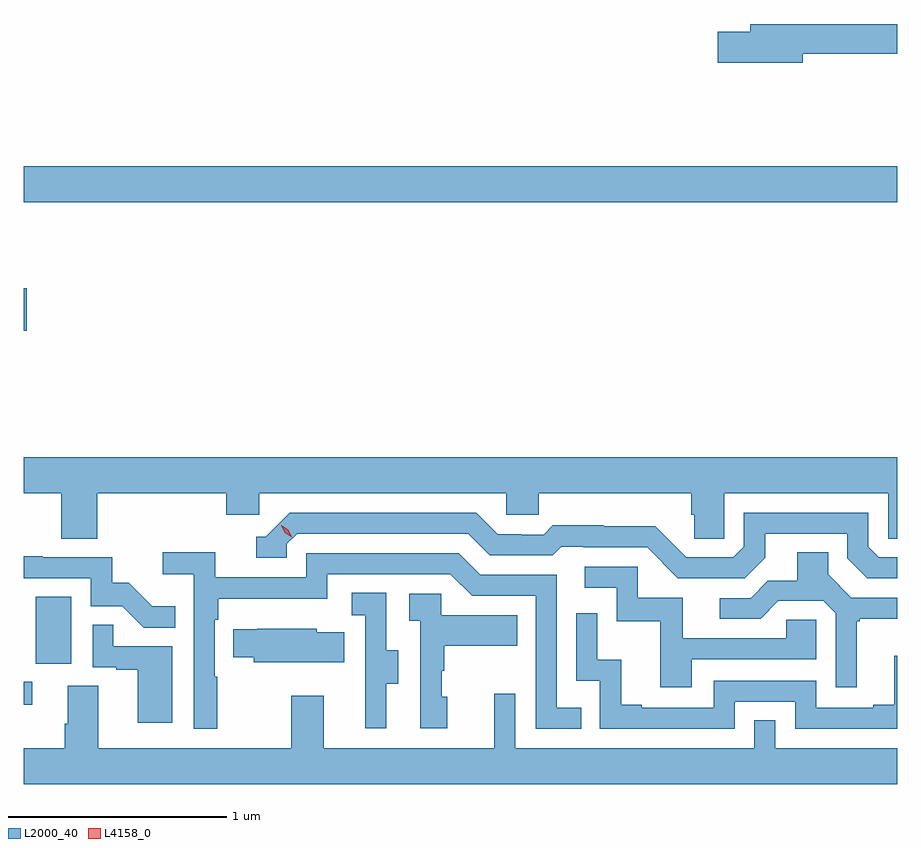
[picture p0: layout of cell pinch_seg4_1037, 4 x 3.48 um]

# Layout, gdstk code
import gdstk
lib = gdstk.Library(unit=1e-6, precision=1e-09)
def R(c, l, rs):  # rectangles x0, y0, x1, y1
    for r in rs: c.add(gdstk.rectangle(r[:2], r[2:], *l))
def P(c, l, *ps):  # polygons
    for p in ps: c.add(gdstk.Polygon(p, *l))
L2000_40 = (2000, 40)
L4158_0 = (4158, 0)

pinch_seg4_1037 = lib.new_cell('pinch_seg4_1037')
R(pinch_seg4_1037, L2000_40, [(854.798,755.892,854.836,755.997), (854.852,756.078,855.016,756.385), (854.798,757.604,854.812,757.798), (854.798,758.192,858.798,758.356)])
P(pinch_seg4_1037, L2000_40, [(858.364,758.872),(858.798,758.872),(858.798,759.008),(858.125,759.008),(858.125,758.972),(857.976,758.972),(857.976,758.83),(858.364,758.83)],
  [(855.134,756.86),(855.725,756.86),(855.725,756.762),(855.876,756.762),(855.876,756.86),(857.007,756.86),(857.007,756.762),(857.157,756.762),(857.157,756.86),(857.855,756.86),(857.855,756.762),(857.869,756.762),(857.869,756.652),(858.006,756.652),(858.006,756.86),(858.756,756.86),(858.756,756.652),(858.798,756.652),(858.798,757.024),(854.798,757.024),(854.798,756.86),(854.969,756.86),(854.969,756.652),(855.134,756.652)],
  [(858.193,756.565),(858.193,756.675),(858.57,756.675),(858.57,756.561),(858.66,756.471),(858.798,756.471),(858.798,756.567),(858.714,756.567),(858.666,756.615),(858.666,756.771),(858.096,756.771),(858.096,756.615),(858.048,756.567),(857.832,756.567),(857.69,756.709),(857.454,756.709),(857.454,756.712),(857.221,756.712),(857.179,756.669),(857.076,756.669),(857.076,756.672),(856.969,756.672),(856.87,756.771),(856.017,756.771),(855.906,756.66),(855.863,756.66),(855.863,756.564),(856.002,756.564),(856.002,756.627),(856.05,756.675),(856.833,756.675),(856.932,756.576),(857.221,756.576),(857.26,756.615),(857.359,756.615),(857.359,756.612),(857.652,756.612),(857.793,756.471),(858.099,756.471)],
  [(855.685,756.02),(855.672,756.02),(855.672,756.281),(855.689,756.281),(855.689,756.377),(856.188,756.377),(856.188,756.489),(856.752,756.489),(856.851,756.39),(857.142,756.39),(857.142,755.781),(857.351,755.781),(857.351,755.877),(857.238,755.877),(857.238,756.486),(856.888,756.486),(856.789,756.585),(856.092,756.585),(856.092,756.474),(855.674,756.474),(855.674,756.59),(855.435,756.59),(855.435,756.488),(855.576,756.488),(855.576,755.781),(855.685,755.781)],
  [(858.613,756.273),(858.625,756.273),(858.625,756.284),(858.798,756.284),(858.798,756.381),(858.588,756.381),(858.481,756.488),(858.481,756.59),(858.341,756.59),(858.341,756.458),(858.206,756.458),(858.126,756.378),(857.985,756.378),(857.985,756.285),(858.172,756.285),(858.253,756.366),(858.459,756.366),(858.516,756.309),(858.516,755.97),(858.613,755.97)],
  [(855.491,756.343),(855.387,756.343),(855.28,756.45),(855.204,756.45),(855.204,756.567),(854.885,756.567),(854.885,756.572),(854.798,756.572),(854.798,756.471),(855.105,756.471),(855.105,756.342),(855.249,756.342),(855.347,756.244),(855.491,756.244)],
  [(857.857,756.099),(858.426,756.099),(858.426,756.279),(858.289,756.279),(858.289,756.195),(857.815,756.195),(857.815,756.381),(857.61,756.381),(857.61,756.522),(857.367,756.522),(857.367,756.426),(857.514,756.426),(857.514,756.273),(857.713,756.273),(857.713,755.97),(857.857,755.97)],
  [(856.459,755.986),(856.513,755.986),(856.513,756.141),(856.458,756.141),(856.458,756.404),(856.299,756.404),(856.299,756.301),(856.362,756.301),(856.362,755.997),(856.361,755.997),(856.361,755.784),(856.459,755.784)],
  [(856.738,755.928),(856.713,755.928),(856.713,756.047),(856.723,756.047),(856.723,756.161),(857.057,756.161),(857.057,756.301),(856.71,756.301),(856.71,756.399),(856.563,756.399),(856.563,756.275),(856.614,756.275),(856.614,755.784),(856.738,755.784)],
  [(858.054,755.904),(858.33,755.904),(858.33,755.781),(858.798,755.781),(858.798,756.115),(858.785,756.115),(858.785,755.89),(858.689,755.89),(858.689,755.877),(858.426,755.877),(858.426,756),(857.958,756),(857.958,755.877),(857.629,755.877),(857.629,755.89),(857.534,755.89),(857.534,756.098),(857.424,756.098),(857.424,756.31),(857.328,756.31),(857.328,756),(857.436,756),(857.436,755.781),(858.054,755.781)],
  [(855.478,756.159),(855.209,756.159),(855.209,756.257),(855.114,756.257),(855.114,756.063),(855.221,756.063),(855.221,756.051),(855.32,756.051),(855.32,755.808),(855.478,755.808)],
  [(856.265,756.223),(856.14,756.223),(856.14,756.238),(855.868,756.238),(855.868,756.237),(855.757,756.237),(855.757,756.109),(855.851,756.109),(855.851,756.086),(856.265,756.086)],
  [(858.798,755.692),(858.24,755.692),(858.24,755.819),(858.144,755.819),(858.144,755.692),(857.049,755.692),(857.049,755.941),(856.952,755.941),(856.952,755.692),(856.171,755.692),(856.171,755.932),(856.024,755.932),(856.024,755.692),(855.139,755.692),(855.139,755.978),(854.999,755.978),(854.999,755.804),(854.987,755.804),(854.987,755.692),(854.798,755.692),(854.798,755.528),(858.798,755.528)])
P(pinch_seg4_1037, L4158_0, [(856.024,756.66),(855.994,756.679),(855.978,756.712),(855.978,756.712),(855.978,756.712),(856.009,756.693),(856.025,756.66),(856.025,756.66)])

lib.write_gds('pinch_seg4_1037.gds')
